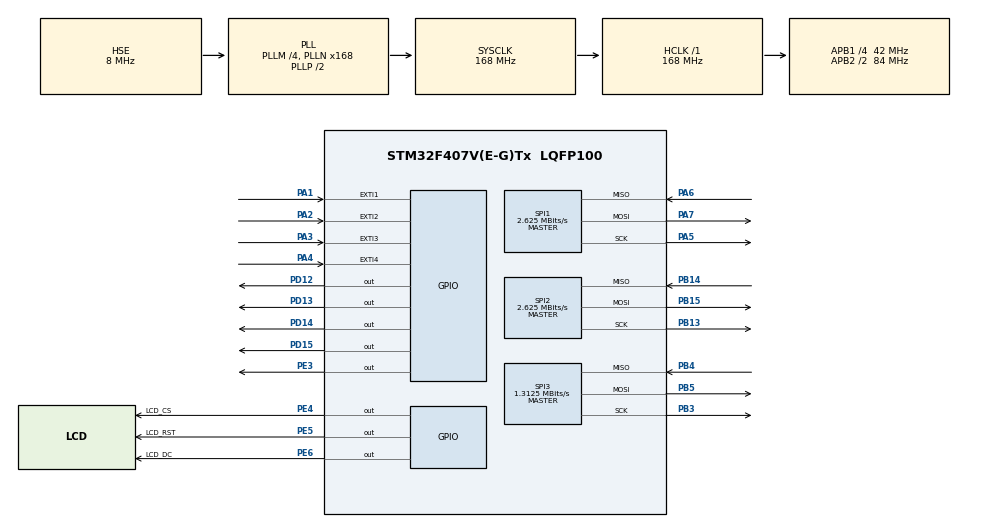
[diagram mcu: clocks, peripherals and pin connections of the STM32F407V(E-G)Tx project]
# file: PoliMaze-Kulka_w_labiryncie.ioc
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Mcu.Family=STM32F4
Mcu.Name=STM32F407V(E-G)Tx
Mcu.Package=LQFP100
NVIC.EXTI1_IRQn=true\:0\:0\:false\:false\:true\:true\:true
NVIC.EXTI2_IRQn=true\:0\:0\:false\:false\:true\:true\:true
NVIC.EXTI3_IRQn=true\:0\:0\:false\:false\:true\:true\:true
NVIC.EXTI4_IRQn=true\:0\:0\:false\:false\:true\:true\:true
NVIC.PriorityGroup=NVIC_PRIORITYGROUP_4
NVIC.TIM3_IRQn=true\:0\:0\:false\:false\:true\:true\:true
NVIC.TIM4_IRQn=true\:0\:0\:false\:false\:true\:true\:true
NVIC.TIM5_IRQn=true\:0\:0\:false\:false\:true\:true\:true
PA1.GPIO_PuPd=GPIO_PULLUP
PA1.Signal=GPXTI1
PA2.GPIO_PuPd=GPIO_PULLUP
PA2.Signal=GPXTI2
PA3.GPIO_PuPd=GPIO_PULLUP
PA3.Signal=GPXTI3
PA4.GPIO_PuPd=GPIO_PULLUP
PA4.Signal=GPXTI4
PA5.Mode=Full_Duplex_Master
PA5.Signal=SPI1_SCK
PA6.Mode=Full_Duplex_Master
PA6.Signal=SPI1_MISO
PA7.Mode=Full_Duplex_Master
PA7.Signal=SPI1_MOSI
PB13.Mode=Full_Duplex_Master
PB13.Signal=SPI2_SCK
PB14.Mode=Full_Duplex_Master
PB14.Signal=SPI2_MISO
PB15.Mode=Full_Duplex_Master
PB15.Signal=SPI2_MOSI
PB3.Mode=Full_Duplex_Master
PB3.Signal=SPI3_SCK
PB4.Mode=Full_Duplex_Master
PB4.Signal=SPI3_MISO
PB5.Mode=Full_Duplex_Master
PB5.Signal=SPI3_MOSI
PD12.Signal=GPIO_Output
PD13.Signal=GPIO_Output
PD14.Signal=GPIO_Output
PD15.Signal=GPIO_Output
PE3.Signal=GPIO_Output
PE4.GPIO_Label=LCD_CS
PE4.Signal=GPIO_Output
PE5.GPIO_Label=LCD_RST
PE5.Signal=GPIO_Output
PE6.GPIO_Label=LCD_DC
PE6.Signal=GPIO_Output
PH0-OSC_IN.Mode=HSE-External-Oscillator
PH0-OSC_IN.Signal=RCC_OSC_IN
PH1-OSC_OUT.Mode=HSE-External-Oscillator
PH1-OSC_OUT.Signal=RCC_OSC_OUT
ProjectManager.HeapSize=0x200
ProjectManager.StackSize=0x400
ProjectManager.TargetToolchain=STM32CubeIDE
RCC.48MHZClocksFreq_Value=84000000
RCC.AHBFreq_Value=168000000
RCC.APB1CLKDivider=RCC_HCLK_DIV4
RCC.APB1Freq_Value=42000000
RCC.APB1TimFreq_Value=84000000
RCC.APB2CLKDivider=RCC_HCLK_DIV2
RCC.APB2Freq_Value=84000000
RCC.APB2TimFreq_Value=168000000
RCC.CortexFreq_Value=168000000
RCC.HCLKFreq_Value=168000000
RCC.HSE_VALUE=8000000
RCC.HSI_VALUE=16000000
RCC.LSE_VALUE=32768
RCC.PLLM=4
RCC.PLLN=168
RCC.PLLSourceVirtual=RCC_PLLSOURCE_HSE
RCC.SYSCLKFreq_VALUE=168000000
RCC.SYSCLKSource=RCC_SYSCLKSOURCE_PLLCLK
RCC.VCOOutputFreq_Value=336000000
SPI1.BaudRatePrescaler=SPI_BAUDRATEPRESCALER_32
SPI1.CalculateBaudRate=2.625 MBits/s
SPI1.Direction=SPI_DIRECTION_2LINES
SPI1.Mode=SPI_MODE_MASTER
SPI1.VirtualType=VM_MASTER
SPI2.BaudRatePrescaler=SPI_BAUDRATEPRESCALER_16
SPI2.CalculateBaudRate=2.625 MBits/s
SPI2.Direction=SPI_DIRECTION_2LINES
SPI2.Mode=SPI_MODE_MASTER
SPI2.VirtualType=VM_MASTER
SPI3.BaudRatePrescaler=SPI_BAUDRATEPRESCALER_32
SPI3.CalculateBaudRate=1.3125 MBits/s
SPI3.Direction=SPI_DIRECTION_2LINES
SPI3.Mode=SPI_MODE_MASTER
SPI3.VirtualType=VM_MASTER
TIM3.Period=1999
TIM3.Prescaler=41999
TIM4.Period=199
TIM4.Prescaler=419
TIM5.Period=399
TIM5.Prescaler=524
VP_TIM3_VS_ClockSourceINT.Mode=Internal
VP_TIM4_VS_ClockSourceINT.Mode=Internal
VP_TIM5_VS_ClockSourceINT.Mode=Internal
board=custom

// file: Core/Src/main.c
/* USER CODE BEGIN Header */
/**
  ******************************************************************************
  * @file           : main.c
  * @brief          : Main program body
  ******************************************************************************
  * @attention
  *
  * <h2><center>&copy; Copyright (c) 2020 STMicroelectronics.
  * All rights reserved.</center></h2>
  *
  * This software component is licensed by ST under BSD 3-Clause license,
  * the "License"; You may not use this file except in compliance with the
  * License. You may obtain a copy of the License at:
  *                        opensource.org/licenses/BSD-3-Clause
  *
  ******************************************************************************
  */
/* USER CODE END Header */

#include "main.h"

/* USER CODE BEGIN Includes */

#include "lis3dsh.h"
#include "ili9341.h"
#include "game.h"

/* USER CODE END Includes */

SPI_HandleTypeDef hspi1;
SPI_HandleTypeDef hspi2;
SPI_HandleTypeDef hspi3;

TIM_HandleTypeDef htim3;
TIM_HandleTypeDef htim4;
TIM_HandleTypeDef htim5;

void SystemClock_Config(void);
static void MX_GPIO_Init(void);
static void MX_SPI1_Init(void);
static void MX_SPI3_Init(void);
static void MX_TIM4_Init(void);
static void MX_TIM5_Init(void);
static void MX_SPI2_Init(void);
static void MX_TIM3_Init(void);
/* USER CODE BEGIN PFP */

void HAL_GPIO_EXTI_Callback(uint16_t GPIO_Pin)
{
	if(butt1>=4 || butt2>=4 || butt3>=4 || butt4>=4){
		butt1=0;
		butt2=0;
		butt3=0;
		butt4=0;

		buttons(GPIO_Pin);
	}
}

void HAL_TIM_PeriodElapsedCallback(TIM_HandleTypeDef *htim){
	if(htim->Instance == TIM4)
		{
			game();

			LIS3DSH_ReadACC(out);
			accX = out[0];
			accY = out[1];
			accZ = out[2];

			if(HAL_GPIO_ReadPin(GPIOA, GPIO_PIN_1) == GPIO_PIN_SET)
				butt1++;
			if(HAL_GPIO_ReadPin(GPIOA, GPIO_PIN_2) == GPIO_PIN_SET)
				butt2++;
			if(HAL_GPIO_ReadPin(GPIOA, GPIO_PIN_3) == GPIO_PIN_SET)
				butt3++;
			if(HAL_GPIO_ReadPin(GPIOA, GPIO_PIN_4) == GPIO_PIN_SET)
				butt4++;
		}
	if(htim->Instance == TIM3){
		czas++;
	}
}

/* USER CODE END PFP */

int main(void)
{

  /* MCU Configuration--------------------------------------------------------*/

  /* Reset of all peripherals, Initializes the Flash interface and the Systick. */
  HAL_Init();

  /* Configure the system clock */
  SystemClock_Config();

  /* Initialize all configured peripherals */
  MX_GPIO_Init();
  MX_SPI1_Init();
  MX_SPI3_Init();
  MX_TIM4_Init();
  MX_TIM5_Init();
  MX_SPI2_Init();
  MX_TIM3_Init();
  /* USER CODE BEGIN 2 */

  ILI9341_Unselect();

  ILI9341_Init();
  ILI9341_FillScreen(background);

  LISInit();

  HAL_TIM_Base_Start_IT(&htim4);

  HAL_TIM_Base_Start_IT(&htim3);

  /* USER CODE END 2 */

  /* Infinite loop */
  while (1)
  {

  }
}

void SystemClock_Config(void)
{
  RCC_OscInitTypeDef RCC_OscInitStruct = {0};
  RCC_ClkInitTypeDef RCC_ClkInitStruct = {0};

  /** Configure the main internal regulator output voltage
  */
  __HAL_RCC_PWR_CLK_ENABLE();
  __HAL_PWR_VOLTAGESCALING_CONFIG(PWR_REGULATOR_VOLTAGE_SCALE1);
  /** Initializes the CPU, AHB and APB busses clocks
  */
  RCC_OscInitStruct.OscillatorType = RCC_OSCILLATORTYPE_HSE;
  RCC_OscInitStruct.HSEState = RCC_HSE_ON;
  RCC_OscInitStruct.PLL.PLLState = RCC_PLL_ON;
  RCC_OscInitStruct.PLL.PLLSource = RCC_PLLSOURCE_HSE;
  RCC_OscInitStruct.PLL.PLLM = 4;
  RCC_OscInitStruct.PLL.PLLN = 168;
  RCC_OscInitStruct.PLL.PLLP = RCC_PLLP_DIV2;
  RCC_OscInitStruct.PLL.PLLQ = 4;
  if (HAL_RCC_OscConfig(&RCC_OscInitStruct) != HAL_OK)
  {
    Error_Handler();
  }
  /** Initializes the CPU, AHB and APB busses clocks
  */
  RCC_ClkInitStruct.ClockType = RCC_CLOCKTYPE_HCLK|RCC_CLOCKTYPE_SYSCLK
                              |RCC_CLOCKTYPE_PCLK1|RCC_CLOCKTYPE_PCLK2;
  RCC_ClkInitStruct.SYSCLKSource = RCC_SYSCLKSOURCE_PLLCLK;
  RCC_ClkInitStruct.AHBCLKDivider = RCC_SYSCLK_DIV1;
  RCC_ClkInitStruct.APB1CLKDivider = RCC_HCLK_DIV4;
  RCC_ClkInitStruct.APB2CLKDivider = RCC_HCLK_DIV2;

  if (HAL_RCC_ClockConfig(&RCC_ClkInitStruct, FLASH_LATENCY_5) != HAL_OK)
  {
    Error_Handler();
  }
}

static void MX_SPI1_Init(void)
{

  /* SPI1 parameter configuration*/
  hspi1.Instance = SPI1;
  hspi1.Init.Mode = SPI_MODE_MASTER;
  hspi1.Init.Direction = SPI_DIRECTION_2LINES;
  hspi1.Init.DataSize = SPI_DATASIZE_8BIT;
  hspi1.Init.CLKPolarity = SPI_POLARITY_LOW;
  hspi1.Init.CLKPhase = SPI_PHASE_1EDGE;
  hspi1.Init.NSS = SPI_NSS_SOFT;
  hspi1.Init.BaudRatePrescaler = SPI_BAUDRATEPRESCALER_32;
  hspi1.Init.FirstBit = SPI_FIRSTBIT_MSB;
  hspi1.Init.TIMode = SPI_TIMODE_DISABLE;
  hspi1.Init.CRCCalculation = SPI_CRCCALCULATION_DISABLE;
  hspi1.Init.CRCPolynomial = 10;
  if (HAL_SPI_Init(&hspi1) != HAL_OK)
  {
    Error_Handler();
  }

}

static void MX_SPI2_Init(void)
{

  /* SPI2 parameter configuration*/
  hspi2.Instance = SPI2;
  hspi2.Init.Mode = SPI_MODE_MASTER;
  hspi2.Init.Direction = SPI_DIRECTION_2LINES;
  hspi2.Init.DataSize = SPI_DATASIZE_8BIT;
  hspi2.Init.CLKPolarity = SPI_POLARITY_LOW;
  hspi2.Init.CLKPhase = SPI_PHASE_1EDGE;
  hspi2.Init.NSS = SPI_NSS_SOFT;
  hspi2.Init.BaudRatePrescaler = SPI_BAUDRATEPRESCALER_16;
  hspi2.Init.FirstBit = SPI_FIRSTBIT_MSB;
  hspi2.Init.TIMode = SPI_TIMODE_DISABLE;
  hspi2.Init.CRCCalculation = SPI_CRCCALCULATION_DISABLE;
  hspi2.Init.CRCPolynomial = 10;
  if (HAL_SPI_Init(&hspi2) != HAL_OK)
  {
    Error_Handler();
  }

}

static void MX_SPI3_Init(void)
{

  /* SPI3 parameter configuration*/
  hspi3.Instance = SPI3;
  hspi3.Init.Mode = SPI_MODE_MASTER;
  hspi3.Init.Direction = SPI_DIRECTION_2LINES;
  hspi3.Init.DataSize = SPI_DATASIZE_8BIT;
  hspi3.Init.CLKPolarity = SPI_POLARITY_LOW;
  hspi3.Init.CLKPhase = SPI_PHASE_1EDGE;
  hspi3.Init.NSS = SPI_NSS_SOFT;
  hspi3.Init.BaudRatePrescaler = SPI_BAUDRATEPRESCALER_32;
  hspi3.Init.FirstBit = SPI_FIRSTBIT_MSB;
  hspi3.Init.TIMode = SPI_TIMODE_DISABLE;
  hspi3.Init.CRCCalculation = SPI_CRCCALCULATION_DISABLE;
  hspi3.Init.CRCPolynomial = 10;
  if (HAL_SPI_Init(&hspi3) != HAL_OK)
  {
    Error_Handler();
  }

}

static void MX_TIM3_Init(void)
{

  TIM_ClockConfigTypeDef sClockSourceConfig = {0};
  TIM_MasterConfigTypeDef sMasterConfig = {0};

  htim3.Instance = TIM3;
  htim3.Init.Prescaler = 41999;
  htim3.Init.CounterMode = TIM_COUNTERMODE_UP;
  htim3.Init.Period = 1999;
  htim3.Init.ClockDivision = TIM_CLOCKDIVISION_DIV1;
  htim3.Init.AutoReloadPreload = TIM_AUTORELOAD_PRELOAD_DISABLE;
  if (HAL_TIM_Base_Init(&htim3) != HAL_OK)
  {
    Error_Handler();
  }
  sClockSourceConfig.ClockSource = TIM_CLOCKSOURCE_INTERNAL;
  if (HAL_TIM_ConfigClockSource(&htim3, &sClockSourceConfig) != HAL_OK)
  {
    Error_Handler();
  }
  sMasterConfig.MasterOutputTrigger = TIM_TRGO_RESET;
  sMasterConfig.MasterSlaveMode = TIM_MASTERSLAVEMODE_DISABLE;
  if (HAL_TIMEx_MasterConfigSynchronization(&htim3, &sMasterConfig) != HAL_OK)
  {
    Error_Handler();
  }

}

static void MX_TIM4_Init(void)
{

  TIM_ClockConfigTypeDef sClockSourceConfig = {0};
  TIM_MasterConfigTypeDef sMasterConfig = {0};

  htim4.Instance = TIM4;
  htim4.Init.Prescaler = 419;
  htim4.Init.CounterMode = TIM_COUNTERMODE_UP;
  htim4.Init.Period = 199;
  htim4.Init.ClockDivision = TIM_CLOCKDIVISION_DIV1;
  htim4.Init.AutoReloadPreload = TIM_AUTORELOAD_PRELOAD_DISABLE;
  if (HAL_TIM_Base_Init(&htim4) != HAL_OK)
  {
    Error_Handler();
  }
  sClockSourceConfig.ClockSource = TIM_CLOCKSOURCE_INTERNAL;
  if (HAL_TIM_ConfigClockSource(&htim4, &sClockSourceConfig) != HAL_OK)
  {
    Error_Handler();
  }
  sMasterConfig.MasterOutputTrigger = TIM_TRGO_RESET;
  sMasterConfig.MasterSlaveMode = TIM_MASTERSLAVEMODE_DISABLE;
  if (HAL_TIMEx_MasterConfigSynchronization(&htim4, &sMasterConfig) != HAL_OK)
  {
    Error_Handler();
  }

}

static void MX_TIM5_Init(void)
{

  TIM_ClockConfigTypeDef sClockSourceConfig = {0};
  TIM_MasterConfigTypeDef sMasterConfig = {0};

  htim5.Instance = TIM5;
  htim5.Init.Prescaler = 524;
  htim5.Init.CounterMode = TIM_COUNTERMODE_UP;
  htim5.Init.Period = 399;
  htim5.Init.ClockDivision = TIM_CLOCKDIVISION_DIV1;
  htim5.Init.AutoReloadPreload = TIM_AUTORELOAD_PRELOAD_DISABLE;
  if (HAL_TIM_Base_Init(&htim5) != HAL_OK)
  {
    Error_Handler();
  }
  sClockSourceConfig.ClockSource = TIM_CLOCKSOURCE_INTERNAL;
  if (HAL_TIM_ConfigClockSource(&htim5, &sClockSourceConfig) != HAL_OK)
  {
    Error_Handler();
  }
  sMasterConfig.MasterOutputTrigger = TIM_TRGO_RESET;
  sMasterConfig.MasterSlaveMode = TIM_MASTERSLAVEMODE_DISABLE;
  if (HAL_TIMEx_MasterConfigSynchronization(&htim5, &sMasterConfig) != HAL_OK)
  {
    Error_Handler();
  }

}

static void MX_GPIO_Init(void)
{
  GPIO_InitTypeDef GPIO_InitStruct = {0};

  /* GPIO Ports Clock Enable */
  __HAL_RCC_GPIOE_CLK_ENABLE();
  __HAL_RCC_GPIOH_CLK_ENABLE();
  __HAL_RCC_GPIOA_CLK_ENABLE();
  __HAL_RCC_GPIOB_CLK_ENABLE();
  __HAL_RCC_GPIOD_CLK_ENABLE();

  /*Configure GPIO pin Output Level */
  HAL_GPIO_WritePin(GPIOE, GPIO_PIN_3|LCD_CS_Pin|LCD_RST_Pin|LCD_DC_Pin, GPIO_PIN_RESET);

  /*Configure GPIO pin Output Level */
  HAL_GPIO_WritePin(GPIOD, GPIO_PIN_12|GPIO_PIN_13|GPIO_PIN_14|GPIO_PIN_15, GPIO_PIN_RESET);

  /*Configure GPIO pins : PE3 LCD_CS_Pin LCD_RST_Pin LCD_DC_Pin */
  GPIO_InitStruct.Pin = GPIO_PIN_3|LCD_CS_Pin|LCD_RST_Pin|LCD_DC_Pin;
  GPIO_InitStruct.Mode = GPIO_MODE_OUTPUT_PP;
  GPIO_InitStruct.Pull = GPIO_NOPULL;
  GPIO_InitStruct.Speed = GPIO_SPEED_FREQ_LOW;
  HAL_GPIO_Init(GPIOE, &GPIO_InitStruct);

  /*Configure GPIO pins : PA1 PA2 PA3 PA4 */
  GPIO_InitStruct.Pin = GPIO_PIN_1|GPIO_PIN_2|GPIO_PIN_3|GPIO_PIN_4;
  GPIO_InitStruct.Mode = GPIO_MODE_IT_RISING;
  GPIO_InitStruct.Pull = GPIO_PULLUP;
  HAL_GPIO_Init(GPIOA, &GPIO_InitStruct);

  /*Configure GPIO pins : PD12 PD13 PD14 PD15 */
  GPIO_InitStruct.Pin = GPIO_PIN_12|GPIO_PIN_13|GPIO_PIN_14|GPIO_PIN_15;
  GPIO_InitStruct.Mode = GPIO_MODE_OUTPUT_PP;
  GPIO_InitStruct.Pull = GPIO_NOPULL;
  GPIO_InitStruct.Speed = GPIO_SPEED_FREQ_LOW;
  HAL_GPIO_Init(GPIOD, &GPIO_InitStruct);

  /* EXTI interrupt init*/
  HAL_NVIC_SetPriority(EXTI1_IRQn, 0, 0);
  HAL_NVIC_EnableIRQ(EXTI1_IRQn);

  HAL_NVIC_SetPriority(EXTI2_IRQn, 0, 0);
  HAL_NVIC_EnableIRQ(EXTI2_IRQn);

  HAL_NVIC_SetPriority(EXTI3_IRQn, 0, 0);
  HAL_NVIC_EnableIRQ(EXTI3_IRQn);

  HAL_NVIC_SetPriority(EXTI4_IRQn, 0, 0);
  HAL_NVIC_EnableIRQ(EXTI4_IRQn);

}

void Error_Handler(void)
{
}

/************************ (C) COPYRIGHT STMicroelectronics *****END OF FILE****/
